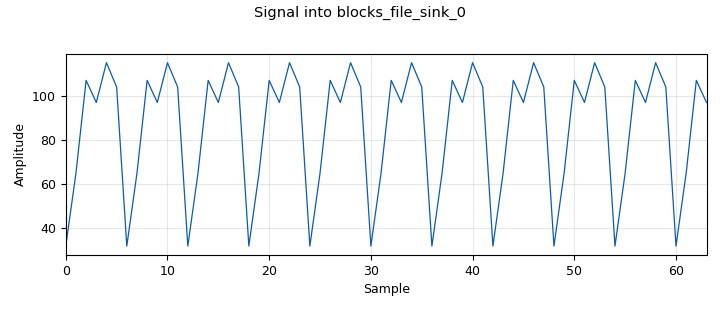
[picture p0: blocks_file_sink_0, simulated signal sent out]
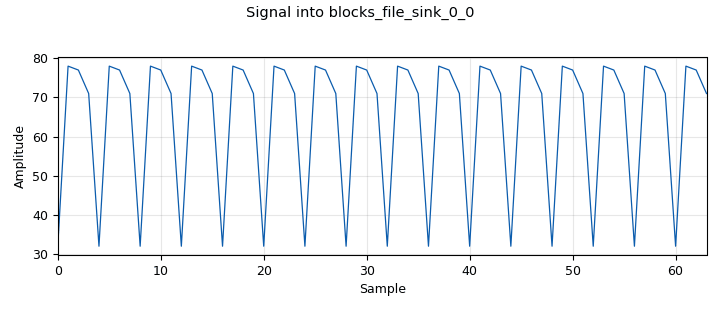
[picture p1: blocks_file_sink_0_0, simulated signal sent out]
<?xml version='1.0' encoding='utf-8'?>
<?grc format='1' created='3.7.11'?>
<flow_graph>
<block>
<key>options</key>
<param><key>id</key><value>top_block</value></param>
<param><key>generate_options</key><value>qt_gui</value></param>
</block>
<block>
<key>variable</key>
<param><key>id</key><value>samp_rate</value></param>
<param><key>value</key><value>32000</value></param>
</block>
<block>
<key>blocks_add_const_vxx</key>
<param><key>id</key><value>blocks_add_const_vxx_0</value></param>
<param><key>const</key><value>-1</value></param>
<param><key>type</key><value>float</value></param>
</block>
<block>
<key>blocks_add_const_vxx</key>
<param><key>id</key><value>blocks_add_const_vxx_0_0</value></param>
<param><key>const</key><value>-1</value></param>
<param><key>type</key><value>float</value></param>
</block>
<block>
<key>blocks_add_const_vxx</key>
<param><key>id</key><value>blocks_add_const_vxx_0_0_0</value></param>
<param><key>const</key><value>-1</value></param>
<param><key>type</key><value>float</value></param>
</block>
<block>
<key>blocks_add_const_vxx</key>
<param><key>id</key><value>blocks_add_const_vxx_0_0_1</value></param>
<param><key>const</key><value>-1</value></param>
<param><key>type</key><value>float</value></param>
</block>
<block>
<key>blocks_char_to_float</key>
<param><key>id</key><value>blocks_char_to_float_0</value></param>
<param><key>scale</key><value>1</value></param>
</block>
<block>
<key>blocks_char_to_float</key>
<param><key>id</key><value>blocks_char_to_float_0_0</value></param>
<param><key>scale</key><value>1</value></param>
</block>
<block>
<key>blocks_char_to_float</key>
<param><key>id</key><value>blocks_char_to_float_0_0_0</value></param>
<param><key>scale</key><value>1</value></param>
</block>
<block>
<key>blocks_char_to_float</key>
<param><key>id</key><value>blocks_char_to_float_0_0_1</value></param>
<param><key>scale</key><value>1</value></param>
</block>
<block>
<key>blocks_file_sink</key>
<param><key>id</key><value>blocks_file_sink_0</value></param>
<param><key>file</key><value>/home/nmg/Downloads/f1.txt</value></param>
<param><key>type</key><value>byte</value></param>
</block>
<block>
<key>blocks_file_sink</key>
<param><key>id</key><value>blocks_file_sink_0_0</value></param>
<param><key>file</key><value>/home/nmg/Downloads/f3.txt</value></param>
<param><key>type</key><value>byte</value></param>
</block>
<block>
<key>blocks_file_sink</key>
<param><key>id</key><value>blocks_file_sink_0_1</value></param>
<param><key>file</key><value>/home/nmg/Downloads/f2.txt</value></param>
<param><key>type</key><value>byte</value></param>
</block>
<block>
<key>blocks_file_sink</key>
<param><key>id</key><value>blocks_file_sink_0_2</value></param>
<param><key>file</key><value>/home/nmg/Downloads/f4.txt</value></param>
<param><key>type</key><value>byte</value></param>
</block>
<block>
<key>blocks_multiply_const_vxx</key>
<param><key>id</key><value>blocks_multiply_const_vxx_0</value></param>
<param><key>const</key><value>2</value></param>
<param><key>type</key><value>float</value></param>
</block>
<block>
<key>blocks_multiply_const_vxx</key>
<param><key>id</key><value>blocks_multiply_const_vxx_0_0</value></param>
<param><key>const</key><value>2</value></param>
<param><key>type</key><value>float</value></param>
</block>
<block>
<key>blocks_multiply_const_vxx</key>
<param><key>id</key><value>blocks_multiply_const_vxx_0_0_0</value></param>
<param><key>const</key><value>2</value></param>
<param><key>type</key><value>float</value></param>
</block>
<block>
<key>blocks_multiply_const_vxx</key>
<param><key>id</key><value>blocks_multiply_const_vxx_0_0_1</value></param>
<param><key>const</key><value>2</value></param>
<param><key>type</key><value>float</value></param>
</block>
<block>
<key>blocks_packed_to_unpacked_xx</key>
<param><key>id</key><value>blocks_packed_to_unpacked_xx_0</value></param>
<param><key>bits_per_chunk</key><value>1</value></param>
<param><key>endianness</key><value>gr.GR_LSB_FIRST</value></param>
<param><key>type</key><value>byte</value></param>
</block>
<block>
<key>blocks_packed_to_unpacked_xx</key>
<param><key>id</key><value>blocks_packed_to_unpacked_xx_0_0</value></param>
<param><key>bits_per_chunk</key><value>1</value></param>
<param><key>endianness</key><value>gr.GR_LSB_FIRST</value></param>
<param><key>type</key><value>byte</value></param>
</block>
<block>
<key>blocks_packed_to_unpacked_xx</key>
<param><key>id</key><value>blocks_packed_to_unpacked_xx_0_0_0</value></param>
<param><key>bits_per_chunk</key><value>1</value></param>
<param><key>endianness</key><value>gr.GR_LSB_FIRST</value></param>
<param><key>type</key><value>byte</value></param>
</block>
<block>
<key>blocks_packed_to_unpacked_xx</key>
<param><key>id</key><value>blocks_packed_to_unpacked_xx_0_0_1</value></param>
<param><key>bits_per_chunk</key><value>1</value></param>
<param><key>endianness</key><value>gr.GR_LSB_FIRST</value></param>
<param><key>type</key><value>byte</value></param>
</block>
<block>
<key>blocks_throttle</key>
<param><key>id</key><value>blocks_throttle_0</value></param>
<param><key>samples_per_second</key><value>samp_rate</value></param>
<param><key>type</key><value>byte</value></param>
</block>
<block>
<key>blocks_throttle</key>
<param><key>id</key><value>blocks_throttle_0_0</value></param>
<param><key>samples_per_second</key><value>samp_rate</value></param>
<param><key>type</key><value>byte</value></param>
</block>
<block>
<key>blocks_throttle</key>
<param><key>id</key><value>blocks_throttle_0_0_0</value></param>
<param><key>samples_per_second</key><value>samp_rate</value></param>
<param><key>type</key><value>byte</value></param>
</block>
<block>
<key>blocks_throttle</key>
<param><key>id</key><value>blocks_throttle_0_0_1</value></param>
<param><key>samples_per_second</key><value>samp_rate</value></param>
<param><key>type</key><value>byte</value></param>
</block>
<block>
<key>blocks_unpacked_to_packed_xx</key>
<param><key>id</key><value>blocks_unpacked_to_packed_xx_0</value></param>
<param><key>bits_per_chunk</key><value>1</value></param>
<param><key>endianness</key><value>gr.GR_LSB_FIRST</value></param>
<param><key>type</key><value>byte</value></param>
</block>
<block>
<key>blocks_unpacked_to_packed_xx</key>
<param><key>id</key><value>blocks_unpacked_to_packed_xx_0_0</value></param>
<param><key>bits_per_chunk</key><value>1</value></param>
<param><key>endianness</key><value>gr.GR_LSB_FIRST</value></param>
<param><key>type</key><value>byte</value></param>
</block>
<block>
<key>blocks_unpacked_to_packed_xx</key>
<param><key>id</key><value>blocks_unpacked_to_packed_xx_0_1</value></param>
<param><key>bits_per_chunk</key><value>1</value></param>
<param><key>endianness</key><value>gr.GR_LSB_FIRST</value></param>
<param><key>type</key><value>byte</value></param>
</block>
<block>
<key>blocks_unpacked_to_packed_xx</key>
<param><key>id</key><value>blocks_unpacked_to_packed_xx_0_2</value></param>
<param><key>bits_per_chunk</key><value>1</value></param>
<param><key>endianness</key><value>gr.GR_LSB_FIRST</value></param>
<param><key>type</key><value>byte</value></param>
</block>
<block>
<key>blocks_vector_source_x</key>
<param><key>id</key><value>blocks_vector_source_x_0</value></param>
<param><key>type</key><value>byte</value></param>
<param><key>repeat</key><value>True</value></param>
<param><key>vector</key><value>list(ord(i) for i in 'Akash ')</value></param>
</block>
<block>
<key>blocks_vector_source_x</key>
<param><key>id</key><value>blocks_vector_source_x_0_0</value></param>
<param><key>type</key><value>byte</value></param>
<param><key>repeat</key><value>True</value></param>
<param><key>vector</key><value>list(ord(i) for i in 'Mayank ')</value></param>
</block>
<block>
<key>blocks_vector_source_x</key>
<param><key>id</key><value>blocks_vector_source_x_0_0_0</value></param>
<param><key>type</key><value>byte</value></param>
<param><key>repeat</key><value>True</value></param>
<param><key>vector</key><value>list(ord(i) for i in 'NMG ')</value></param>
</block>
<block>
<key>blocks_vector_source_x</key>
<param><key>id</key><value>blocks_vector_source_x_0_0_1</value></param>
<param><key>type</key><value>byte</value></param>
<param><key>repeat</key><value>True</value></param>
<param><key>vector</key><value>list(ord(i) for i in 'Udit ')</value></param>
</block>
<block>
<key>digital_binary_slicer_fb</key>
<param><key>id</key><value>digital_binary_slicer_fb_0</value></param>
</block>
<block>
<key>digital_binary_slicer_fb</key>
<param><key>id</key><value>digital_binary_slicer_fb_0_0</value></param>
</block>
<block>
<key>digital_binary_slicer_fb</key>
<param><key>id</key><value>digital_binary_slicer_fb_0_1</value></param>
</block>
<block>
<key>digital_binary_slicer_fb</key>
<param><key>id</key><value>digital_binary_slicer_fb_0_2</value></param>
</block>
<block>
<key>epy_block</key>
<param><key>id</key><value>epy_block_0</value></param>
<param><key>_source_code</key><value>"""
Embedded Python Blocks:

Each time this file is saved, GRC will instantiate the first class it finds
to get ports and parameters of your block. The arguments to __init__  will
be the parameters. All of them are required to have default values!
"""

import numpy as np
from gnuradio import gr


class blk(gr.sync_block):  # other base classes are basic_block, decim_block, interp_block

    def __init__(self):  # only default arguments here
        """arguments to this function show up as parameters in GRC"""
        gr.sync_block.__init__(
            self,
            name='CDMA Encoder',   # will show up in GRC
            in_sig=[np.float32, np.float32, np.float32, np.float32],
            out_sig=[np.float32, np.float32, np.float32, np.float32]
        )

    def work(self, input_items, output_items):
        D1 = np.array([1,1,1,1])
        D2 = np.array([+1,-1,+1,-1])
        D3 = np.array([+1,+1,-1,-1])
        D4 = np.array([+1,-1,-1,+1])
        for i in range(len(input_items[0])):
            temp = D1*input_items[0][i] + D2*input_items[1][i] + D3*input_items[2][i] + D4*input_items[3][i]
            output_items[0][i] = temp[0]
            output_items[1][i] = temp[1]
            output_items[2][i] = temp[2]
            output_items[3][i] = temp[3]

        return len(output_items[0])
</value></param>
</block>
<block>
<key>epy_block</key>
<param><key>id</key><value>epy_block_0_0</value></param>
<param><key>_source_code</key><value>"""
Embedded Python Blocks:

Each time this file is saved, GRC will instantiate the first class it finds
to get ports and parameters of your block. The arguments to __init__  will
be the parameters. All of them are required to have default values!
"""

import numpy as np
from gnuradio import gr


class blk(gr.sync_block):  # other base classes are basic_block, decim_block, interp_block

    def __init__(self):  # only default arguments here
        """arguments to this function show up as parameters in GRC"""
        gr.sync_block.__init__(
            self,
            name='CDMA Decoder',   # will show up in GRC
            in_sig=[np.float32, np.float32, np.float32, np.float32],
            out_sig=[np.float32, np.float32, np.float32, np.float32]
        )

    def work(self, input_items, output_items):
        D1 = np.array([1,1,1,1])
        D2 = np.array([+1,-1,+1,-1])
        D3 = np.array([+1,+1,-1,-1])
        D4 = np.array([+1,-1,-1,+1])

        for i in range(len(input_items[0])):
            temp = np.array([input_items[0][i], input_items[1][i], input_items[2][i], input_items[3][i]])
            output_items[0][i] = np.dot(temp, D1)/4.0
            output_items[1][i] = np.dot(temp, D2)/4.0
            output_items[2][i] = np.dot(temp, D3)/4.0
            output_items[3][i] = np.dot(temp, D4)/4.0

        return len(output_items[0])
</value></param>
</block>
<connection><source_block_id>blocks_add_const_vxx_0</source_block_id><sink_block_id>epy_block_0</sink_block_id><source_key>0</source_key><sink_key>0</sink_key></connection>
<connection><source_block_id>blocks_add_const_vxx_0_0</source_block_id><sink_block_id>epy_block_0</sink_block_id><source_key>0</source_key><sink_key>1</sink_key></connection>
<connection><source_block_id>blocks_add_const_vxx_0_0_0</source_block_id><sink_block_id>epy_block_0</sink_block_id><source_key>0</source_key><sink_key>2</sink_key></connection>
<connection><source_block_id>blocks_add_const_vxx_0_0_1</source_block_id><sink_block_id>epy_block_0</sink_block_id><source_key>0</source_key><sink_key>3</sink_key></connection>
<connection><source_block_id>blocks_char_to_float_0</source_block_id><sink_block_id>blocks_multiply_const_vxx_0</sink_block_id><source_key>0</source_key><sink_key>0</sink_key></connection>
<connection><source_block_id>blocks_char_to_float_0_0</source_block_id><sink_block_id>blocks_multiply_const_vxx_0_0</sink_block_id><source_key>0</source_key><sink_key>0</sink_key></connection>
<connection><source_block_id>blocks_char_to_float_0_0_0</source_block_id><sink_block_id>blocks_multiply_const_vxx_0_0_0</sink_block_id><source_key>0</source_key><sink_key>0</sink_key></connection>
<connection><source_block_id>blocks_char_to_float_0_0_1</source_block_id><sink_block_id>blocks_multiply_const_vxx_0_0_1</sink_block_id><source_key>0</source_key><sink_key>0</sink_key></connection>
<connection><source_block_id>blocks_multiply_const_vxx_0</source_block_id><sink_block_id>blocks_add_const_vxx_0</sink_block_id><source_key>0</source_key><sink_key>0</sink_key></connection>
<connection><source_block_id>blocks_multiply_const_vxx_0_0</source_block_id><sink_block_id>blocks_add_const_vxx_0_0</sink_block_id><source_key>0</source_key><sink_key>0</sink_key></connection>
<connection><source_block_id>blocks_multiply_const_vxx_0_0_0</source_block_id><sink_block_id>blocks_add_const_vxx_0_0_0</sink_block_id><source_key>0</source_key><sink_key>0</sink_key></connection>
<connection><source_block_id>blocks_multiply_const_vxx_0_0_1</source_block_id><sink_block_id>blocks_add_const_vxx_0_0_1</sink_block_id><source_key>0</source_key><sink_key>0</sink_key></connection>
<connection><source_block_id>blocks_packed_to_unpacked_xx_0</source_block_id><sink_block_id>blocks_throttle_0</sink_block_id><source_key>0</source_key><sink_key>0</sink_key></connection>
<connection><source_block_id>blocks_packed_to_unpacked_xx_0_0</source_block_id><sink_block_id>blocks_throttle_0_0</sink_block_id><source_key>0</source_key><sink_key>0</sink_key></connection>
<connection><source_block_id>blocks_packed_to_unpacked_xx_0_0_0</source_block_id><sink_block_id>blocks_throttle_0_0_0</sink_block_id><source_key>0</source_key><sink_key>0</sink_key></connection>
<connection><source_block_id>blocks_packed_to_unpacked_xx_0_0_1</source_block_id><sink_block_id>blocks_throttle_0_0_1</sink_block_id><source_key>0</source_key><sink_key>0</sink_key></connection>
<connection><source_block_id>blocks_throttle_0</source_block_id><sink_block_id>blocks_char_to_float_0</sink_block_id><source_key>0</source_key><sink_key>0</sink_key></connection>
<connection><source_block_id>blocks_throttle_0_0</source_block_id><sink_block_id>blocks_char_to_float_0_0</sink_block_id><source_key>0</source_key><sink_key>0</sink_key></connection>
<connection><source_block_id>blocks_throttle_0_0_0</source_block_id><sink_block_id>blocks_char_to_float_0_0_0</sink_block_id><source_key>0</source_key><sink_key>0</sink_key></connection>
<connection><source_block_id>blocks_throttle_0_0_1</source_block_id><sink_block_id>blocks_char_to_float_0_0_1</sink_block_id><source_key>0</source_key><sink_key>0</sink_key></connection>
<connection><source_block_id>blocks_unpacked_to_packed_xx_0</source_block_id><sink_block_id>blocks_file_sink_0</sink_block_id><source_key>0</source_key><sink_key>0</sink_key></connection>
<connection><source_block_id>blocks_unpacked_to_packed_xx_0_0</source_block_id><sink_block_id>blocks_file_sink_0_1</sink_block_id><source_key>0</source_key><sink_key>0</sink_key></connection>
<connection><source_block_id>blocks_unpacked_to_packed_xx_0_1</source_block_id><sink_block_id>blocks_file_sink_0_0</sink_block_id><source_key>0</source_key><sink_key>0</sink_key></connection>
<connection><source_block_id>blocks_unpacked_to_packed_xx_0_2</source_block_id><sink_block_id>blocks_file_sink_0_2</sink_block_id><source_key>0</source_key><sink_key>0</sink_key></connection>
<connection><source_block_id>blocks_vector_source_x_0</source_block_id><sink_block_id>blocks_packed_to_unpacked_xx_0</sink_block_id><source_key>0</source_key><sink_key>0</sink_key></connection>
<connection><source_block_id>blocks_vector_source_x_0_0</source_block_id><sink_block_id>blocks_packed_to_unpacked_xx_0_0</sink_block_id><source_key>0</source_key><sink_key>0</sink_key></connection>
<connection><source_block_id>blocks_vector_source_x_0_0_0</source_block_id><sink_block_id>blocks_packed_to_unpacked_xx_0_0_0</sink_block_id><source_key>0</source_key><sink_key>0</sink_key></connection>
<connection><source_block_id>blocks_vector_source_x_0_0_1</source_block_id><sink_block_id>blocks_packed_to_unpacked_xx_0_0_1</sink_block_id><source_key>0</source_key><sink_key>0</sink_key></connection>
<connection><source_block_id>digital_binary_slicer_fb_0</source_block_id><sink_block_id>blocks_unpacked_to_packed_xx_0</sink_block_id><source_key>0</source_key><sink_key>0</sink_key></connection>
<connection><source_block_id>digital_binary_slicer_fb_0_0</source_block_id><sink_block_id>blocks_unpacked_to_packed_xx_0_0</sink_block_id><source_key>0</source_key><sink_key>0</sink_key></connection>
<connection><source_block_id>digital_binary_slicer_fb_0_1</source_block_id><sink_block_id>blocks_unpacked_to_packed_xx_0_1</sink_block_id><source_key>0</source_key><sink_key>0</sink_key></connection>
<connection><source_block_id>digital_binary_slicer_fb_0_2</source_block_id><sink_block_id>blocks_unpacked_to_packed_xx_0_2</sink_block_id><source_key>0</source_key><sink_key>0</sink_key></connection>
<connection><source_block_id>epy_block_0</source_block_id><sink_block_id>epy_block_0_0</sink_block_id><source_key>0</source_key><sink_key>0</sink_key></connection>
<connection><source_block_id>epy_block_0</source_block_id><sink_block_id>epy_block_0_0</sink_block_id><source_key>1</source_key><sink_key>1</sink_key></connection>
<connection><source_block_id>epy_block_0</source_block_id><sink_block_id>epy_block_0_0</sink_block_id><source_key>2</source_key><sink_key>2</sink_key></connection>
<connection><source_block_id>epy_block_0</source_block_id><sink_block_id>epy_block_0_0</sink_block_id><source_key>3</source_key><sink_key>3</sink_key></connection>
<connection><source_block_id>epy_block_0_0</source_block_id><sink_block_id>digital_binary_slicer_fb_0</sink_block_id><source_key>0</source_key><sink_key>0</sink_key></connection>
<connection><source_block_id>epy_block_0_0</source_block_id><sink_block_id>digital_binary_slicer_fb_0_0</sink_block_id><source_key>1</source_key><sink_key>0</sink_key></connection>
<connection><source_block_id>epy_block_0_0</source_block_id><sink_block_id>digital_binary_slicer_fb_0_1</sink_block_id><source_key>2</source_key><sink_key>0</sink_key></connection>
<connection><source_block_id>epy_block_0_0</source_block_id><sink_block_id>digital_binary_slicer_fb_0_2</sink_block_id><source_key>3</source_key><sink_key>0</sink_key></connection>
</flow_graph>
